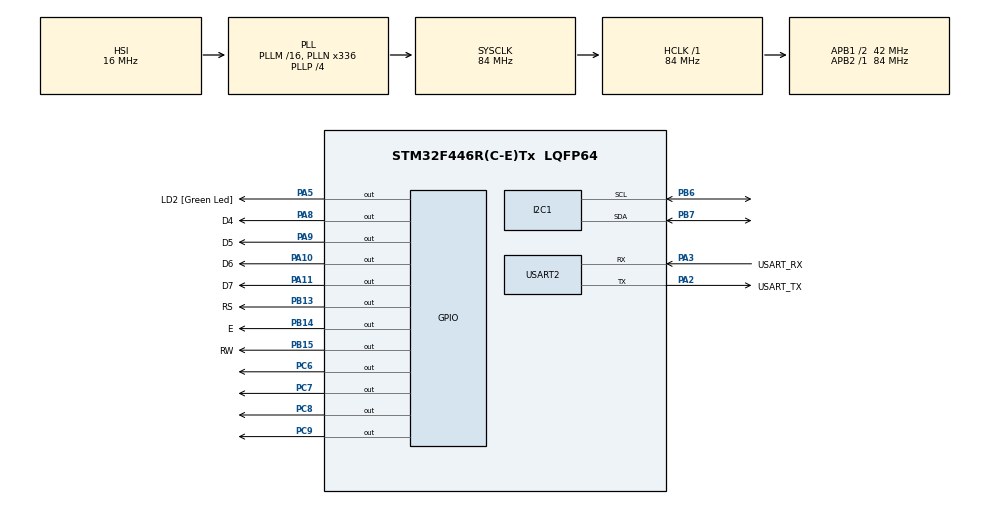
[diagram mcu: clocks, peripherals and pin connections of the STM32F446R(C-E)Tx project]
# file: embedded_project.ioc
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Mcu.Family=STM32F4
PA11.GPIO_Speed=GPIO_SPEED_FREQ_MEDIUM
PH0-OSC_IN.Signal=RCC_OSC_IN
RCC.CortexFreq_Value=84000000
PB14.GPIO_Label=E
PB13.GPIO_Label=RS
PB13.Signal=GPIO_Output
PB15.Signal=GPIO_Output
RCC.SYSCLKSource=RCC_SYSCLKSOURCE_PLLCLK
ProjectManager.StackSize=0x400
RCC.HCLKFreq_Value=84000000
RCC.APB2TimFreq_Value=84000000
PB6.Signal=I2C1_SCL
PC7.Signal=GPIO_Output
PB6.Mode=I2C
RCC.AHBFreq_Value=84000000
PH0-OSC_IN.Mode=HSE-External-Oscillator
RCC.HSE_VALUE=8000000
PC14-OSC32_IN.Mode=LSE-External-Oscillator
PA14.Mode=Serial_Wire
PA10.GPIO_Label=D6
PB7.Signal=I2C1_SDA
PA8.Signal=GPIO_Output
RCC.FLatency-AdvancedSettings=FLASH_LATENCY_2
PH1-OSC_OUT.Mode=HSE-External-Oscillator
Mcu.Package=LQFP64
USART2.VirtualMode=VM_ASYNC
PA2.GPIO_Label=USART_TX
PA10.Signal=GPIO_Output
PA10.GPIO_Speed=GPIO_SPEED_FREQ_MEDIUM
RCC.APB1TimFreq_Value=84000000
PA8.GPIO_Speed=GPIO_SPEED_FREQ_MEDIUM
PA3.Signal=USART2_RX
PC15-OSC32_OUT.Mode=LSE-External-Oscillator
PA9.GPIO_Label=D5
PC8.Signal=GPIO_Output
PC6.Signal=GPIO_Output
PA11.GPIO_Label=D7
RCC.APB1CLKDivider=RCC_HCLK_DIV2
PC14-OSC32_IN.Signal=RCC_OSC32_IN
NVIC.USART2_IRQn=true\:0\:0\:false\:false\:true\:true\:true
PA13.Signal=SYS_JTMS-SWDIO
PA3.Mode=Asynchronous
PA8.GPIO_Label=D4
ProjectManager.TargetToolchain=STM32CubeIDE
PB14.GPIO_Speed=GPIO_SPEED_FREQ_MEDIUM
PA9.Signal=GPIO_Output
PB13.GPIO_Speed=GPIO_SPEED_FREQ_MEDIUM
RCC.USBFreq_Value=168000000
PC15-OSC32_OUT.Signal=RCC_OSC32_OUT
PB14.Signal=GPIO_Output
PA5.Signal=GPIO_Output
board=NUCLEO-F446RE
RCC.VCOOutputFreq_Value=336000000
RCC.APB2Freq_Value=84000000
PB15.GPIO_Label=RW
PB15.GPIO_Speed=GPIO_SPEED_FREQ_MEDIUM
PH1-OSC_OUT.Signal=RCC_OSC_OUT
PA13.Mode=Serial_Wire
Mcu.Name=STM32F446R(C-E)Tx
PA2.Signal=USART2_TX
RCC.48MHZClocksFreq_Value=84000000
PB3.Signal=SYS_JTDO-SWO
RCC.SYSCLKFreq_VALUE=84000000
PA5.GPIO_Label=LD2 [Green Led]
PB7.Mode=I2C
PA11.Signal=GPIO_Output
PA14.Signal=SYS_JTCK-SWCLK
ProjectManager.HeapSize=0x200
RCC.HSI_VALUE=16000000
RCC.PLLP=RCC_PLLP_DIV4
NVIC.PriorityGroup=NVIC_PRIORITYGROUP_0
RCC.PLLN=336
PA2.Mode=Asynchronous
PA9.GPIO_Speed=GPIO_SPEED_FREQ_MEDIUM
PC9.Signal=GPIO_Output
RCC.APB1Freq_Value=42000000
PA3.GPIO_Label=USART_RX

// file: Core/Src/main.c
/* USER CODE BEGIN Header */
/**
  ******************************************************************************
  * @file           : main.c
  * @brief          : Main program body
  ******************************************************************************
  * @attention
  *
  * <h2><center>&copy; Copyright (c) 2021 STMicroelectronics.
  * All rights reserved.</center></h2>
  *
  * This software component is licensed by ST under BSD 3-Clause license,
  * the "License"; You may not use this file except in compliance with the
  * License. You may obtain a copy of the License at:
  *                        opensource.org/licenses/BSD-3-Clause
  *
  ******************************************************************************
  */
/* USER CODE END Header */
#include "main.h"

/* USER CODE BEGIN Includes */
#include "bme280.h"
#include "bme280_control.h"
#include "bme280_defs.h"
#include "lcd16x2.h"
#include <stdio.h>
/* USER CODE END Includes */

/* USER CODE BEGIN PTD */

static struct bme280_dev dev;
static struct bme280_data comp_data;

/* USER CODE END PTD */

I2C_HandleTypeDef hi2c1;

UART_HandleTypeDef huart2;

void SystemClock_Config(void);
static void MX_GPIO_Init(void);
static void MX_USART2_UART_Init(void);
static void MX_I2C1_Init(void);

/* USER CODE BEGIN 0 */

int __io_putchar(int ch) {
	HAL_UART_Transmit(&huart2, (uint8_t*)&ch, 1, 1000);
	return ch;
}

int8_t bme280_init_indoor(void) {

	int8_t rslt = BME280_OK;
	uint8_t settings_sel;
	uint8_t dev_addr = (BME280_I2C_ADDR_PRIM << 1);

	dev.intf_ptr = &dev_addr;
	dev.intf = BME280_I2C_INTF;
	dev.read = user_i2c_read;
	dev.write = user_i2c_write;
	dev.delay_us = user_delay_ms;

	rslt = bme280_init(&dev);

	/* Recommended mode of operation: Indoor navigation */
	dev.settings.osr_h = BME280_OVERSAMPLING_1X;
	dev.settings.osr_p = BME280_OVERSAMPLING_16X;
	dev.settings.osr_t = BME280_OVERSAMPLING_2X;
	dev.settings.filter = BME280_FILTER_COEFF_16;
	dev.settings.standby_time = BME280_STANDBY_TIME_62_5_MS;

	settings_sel = BME280_OSR_PRESS_SEL;
	settings_sel |= BME280_OSR_TEMP_SEL;
	settings_sel |= BME280_OSR_HUM_SEL;
	settings_sel |= BME280_STANDBY_SEL;
	settings_sel |= BME280_FILTER_SEL;
	rslt = bme280_set_sensor_settings(settings_sel, &dev);
	rslt = bme280_set_sensor_mode(BME280_NORMAL_MODE, &dev);

	return rslt;
}

int8_t bme280_read(void) {
	int8_t rslt;

	printf("Temperature, Pressure, Humidity\r\n");
	/* Delay while the sensor completes a measurement */
	dev.delay_us(70, dev.intf_ptr);
	rslt = bme280_get_sensor_data(BME280_ALL, &comp_data, &dev);
	print_sensor_data(&comp_data);

	return rslt;
}

void print_sensor_data(struct bme280_data *comp_data)
{
#ifdef BME280_FLOAT_ENABLE
        printf("%0.2f, %0.2f, %0.2f\r\n",comp_data->temperature, comp_data->pressure, comp_data->humidity);

#else
        printf("%ld, %ld, %ld\r\n",comp_data->temperature, comp_data->pressure, comp_data->humidity);
#endif
}

int8_t user_i2c_read(uint8_t reg_addr, uint8_t *reg_data, uint32_t len, void *intf_ptr)
{
    int8_t rslt = 0; /* Return 0 for Success, non-zero for failure */
    rslt = HAL_I2C_Mem_Read(&hi2c1, BME280_I2C_ADDR_PRIM << 1, reg_addr, 1, reg_data, len, HAL_MAX_DELAY);
    if(rslt != HAL_OK) {
    	printf("Read error code: %d\n", rslt);
    }

    return rslt;
}

int8_t user_i2c_write(uint8_t reg_addr, uint8_t *reg_data, uint32_t len, void *intf_ptr)
{
    int8_t rslt = 0; /* Return 0 for Success, non-zero for failure */
    rslt = HAL_I2C_Mem_Write(&hi2c1, BME280_I2C_ADDR_PRIM << 1, reg_addr, 1, reg_data, len, HAL_MAX_DELAY);

    if(rslt != HAL_OK) {
        	printf("Write error code: %d\n", rslt);
        }
    return rslt;
}

void user_delay_ms(uint32_t period, void *intf_ptr)
{
	HAL_Delay(period);
}

/* USER CODE END 0 */

int main(void)
{
  /* USER CODE BEGIN 1 */
  int err;
  /* USER CODE END 1 */

  /* MCU Configuration--------------------------------------------------------*/

  /* Reset of all peripherals, Initializes the Flash interface and the Systick. */
  HAL_Init();

  /* Configure the system clock */
  SystemClock_Config();

  /* Initialize all configured peripherals */
  MX_GPIO_Init();
  MX_USART2_UART_Init();
  MX_I2C1_Init();
  /* USER CODE BEGIN 2 */
  printf("BME Configuration Start!\n\r");

  if((err = bme280_init_indoor()) != BME280_OK) {
	  printf("BME Configuration failed, code: %d\n\r", err);
	  return 1;
  }

  printf("BME Configuration Complete!\n\r");

  lcd16x2_init_4bits(RS_GPIO_Port,RS_Pin,E_Pin,D4_GPIO_Port,D4_Pin,D5_Pin,D6_Pin,D7_Pin);
  /* USER CODE END 2 */

  /* Infinite loop */
  /* USER CODE BEGIN WHILE */

  while (1)
  {
	  	  if((err = bme280_read()) != BME280_OK) {
	  		  printf("Read error, code: %d\n\r", err);
	  		  return 1;
	  	  }

	  	 lcd16x2_1stLine();
	  	 lcd16x2_printf("Temperature:");
	  	 lcd16x2_2ndLine();
	  	 lcd16x2_printf("%0.2f%cC", comp_data.temperature, 223);

	  	 HAL_Delay(3000);
	  	 lcd16x2_clear();

	  	 lcd16x2_1stLine();
	  	 lcd16x2_printf("Pressure:");
	  	 lcd16x2_2ndLine();
	  	 lcd16x2_printf("%0.2fhPa", comp_data.pressure/100);

	  	 HAL_Delay(3000);
		 lcd16x2_clear();

	  	 lcd16x2_1stLine();
	  	 lcd16x2_printf("Humidity:");
	  	 lcd16x2_2ndLine();
	  	 lcd16x2_printf("%0.2f%%", comp_data.humidity);

	  	 HAL_Delay(3000);
		 lcd16x2_clear();

    /* USER CODE END WHILE */

  }
}

void SystemClock_Config(void)
{
  RCC_OscInitTypeDef RCC_OscInitStruct = {0};
  RCC_ClkInitTypeDef RCC_ClkInitStruct = {0};

  /** Configure the main internal regulator output voltage
  */
  __HAL_RCC_PWR_CLK_ENABLE();
  __HAL_PWR_VOLTAGESCALING_CONFIG(PWR_REGULATOR_VOLTAGE_SCALE3);
  /** Initializes the RCC Oscillators according to the specified parameters
  * in the RCC_OscInitTypeDef structure.
  */
  RCC_OscInitStruct.OscillatorType = RCC_OSCILLATORTYPE_HSI;
  RCC_OscInitStruct.HSIState = RCC_HSI_ON;
  RCC_OscInitStruct.HSICalibrationValue = RCC_HSICALIBRATION_DEFAULT;
  RCC_OscInitStruct.PLL.PLLState = RCC_PLL_ON;
  RCC_OscInitStruct.PLL.PLLSource = RCC_PLLSOURCE_HSI;
  RCC_OscInitStruct.PLL.PLLM = 16;
  RCC_OscInitStruct.PLL.PLLN = 336;
  RCC_OscInitStruct.PLL.PLLP = RCC_PLLP_DIV4;
  RCC_OscInitStruct.PLL.PLLQ = 2;
  RCC_OscInitStruct.PLL.PLLR = 2;
  if (HAL_RCC_OscConfig(&RCC_OscInitStruct) != HAL_OK)
  {
    Error_Handler();
  }
  /** Initializes the CPU, AHB and APB buses clocks
  */
  RCC_ClkInitStruct.ClockType = RCC_CLOCKTYPE_HCLK|RCC_CLOCKTYPE_SYSCLK
                              |RCC_CLOCKTYPE_PCLK1|RCC_CLOCKTYPE_PCLK2;
  RCC_ClkInitStruct.SYSCLKSource = RCC_SYSCLKSOURCE_PLLCLK;
  RCC_ClkInitStruct.AHBCLKDivider = RCC_SYSCLK_DIV1;
  RCC_ClkInitStruct.APB1CLKDivider = RCC_HCLK_DIV2;
  RCC_ClkInitStruct.APB2CLKDivider = RCC_HCLK_DIV1;

  if (HAL_RCC_ClockConfig(&RCC_ClkInitStruct, FLASH_LATENCY_2) != HAL_OK)
  {
    Error_Handler();
  }
}

static void MX_I2C1_Init(void)
{

  hi2c1.Instance = I2C1;
  hi2c1.Init.ClockSpeed = 100000;
  hi2c1.Init.DutyCycle = I2C_DUTYCYCLE_2;
  hi2c1.Init.OwnAddress1 = 0;
  hi2c1.Init.AddressingMode = I2C_ADDRESSINGMODE_7BIT;
  hi2c1.Init.DualAddressMode = I2C_DUALADDRESS_DISABLE;
  hi2c1.Init.OwnAddress2 = 0;
  hi2c1.Init.GeneralCallMode = I2C_GENERALCALL_DISABLE;
  hi2c1.Init.NoStretchMode = I2C_NOSTRETCH_DISABLE;
  if (HAL_I2C_Init(&hi2c1) != HAL_OK)
  {
    Error_Handler();
  }

}

static void MX_USART2_UART_Init(void)
{

  huart2.Instance = USART2;
  huart2.Init.BaudRate = 115200;
  huart2.Init.WordLength = UART_WORDLENGTH_8B;
  huart2.Init.StopBits = UART_STOPBITS_1;
  huart2.Init.Parity = UART_PARITY_NONE;
  huart2.Init.Mode = UART_MODE_TX_RX;
  huart2.Init.HwFlowCtl = UART_HWCONTROL_NONE;
  huart2.Init.OverSampling = UART_OVERSAMPLING_16;
  if (HAL_UART_Init(&huart2) != HAL_OK)
  {
    Error_Handler();
  }

}

static void MX_GPIO_Init(void)
{
  GPIO_InitTypeDef GPIO_InitStruct = {0};

  /* GPIO Ports Clock Enable */
  __HAL_RCC_GPIOC_CLK_ENABLE();
  __HAL_RCC_GPIOH_CLK_ENABLE();
  __HAL_RCC_GPIOA_CLK_ENABLE();
  __HAL_RCC_GPIOB_CLK_ENABLE();

  /*Configure GPIO pin Output Level */
  HAL_GPIO_WritePin(GPIOA, LD2_Pin|D4_Pin|D5_Pin|D6_Pin
                          |D7_Pin, GPIO_PIN_RESET);

  /*Configure GPIO pin Output Level */
  HAL_GPIO_WritePin(GPIOB, RS_Pin|E_Pin|RW_Pin, GPIO_PIN_RESET);

  /*Configure GPIO pin Output Level */
  HAL_GPIO_WritePin(GPIOC, GPIO_PIN_6|GPIO_PIN_7|GPIO_PIN_8|GPIO_PIN_9, GPIO_PIN_RESET);

  /*Configure GPIO pin : LD2_Pin */
  GPIO_InitStruct.Pin = LD2_Pin;
  GPIO_InitStruct.Mode = GPIO_MODE_OUTPUT_PP;
  GPIO_InitStruct.Pull = GPIO_NOPULL;
  GPIO_InitStruct.Speed = GPIO_SPEED_FREQ_LOW;
  HAL_GPIO_Init(LD2_GPIO_Port, &GPIO_InitStruct);

  /*Configure GPIO pins : RS_Pin E_Pin RW_Pin */
  GPIO_InitStruct.Pin = RS_Pin|E_Pin|RW_Pin;
  GPIO_InitStruct.Mode = GPIO_MODE_OUTPUT_PP;
  GPIO_InitStruct.Pull = GPIO_NOPULL;
  GPIO_InitStruct.Speed = GPIO_SPEED_FREQ_MEDIUM;
  HAL_GPIO_Init(GPIOB, &GPIO_InitStruct);

  /*Configure GPIO pins : PC6 PC7 PC8 PC9 */
  GPIO_InitStruct.Pin = GPIO_PIN_6|GPIO_PIN_7|GPIO_PIN_8|GPIO_PIN_9;
  GPIO_InitStruct.Mode = GPIO_MODE_OUTPUT_PP;
  GPIO_InitStruct.Pull = GPIO_NOPULL;
  GPIO_InitStruct.Speed = GPIO_SPEED_FREQ_LOW;
  HAL_GPIO_Init(GPIOC, &GPIO_InitStruct);

  /*Configure GPIO pins : D4_Pin D5_Pin D6_Pin D7_Pin */
  GPIO_InitStruct.Pin = D4_Pin|D5_Pin|D6_Pin|D7_Pin;
  GPIO_InitStruct.Mode = GPIO_MODE_OUTPUT_PP;
  GPIO_InitStruct.Pull = GPIO_NOPULL;
  GPIO_InitStruct.Speed = GPIO_SPEED_FREQ_MEDIUM;
  HAL_GPIO_Init(GPIOA, &GPIO_InitStruct);

}

void Error_Handler(void)
{
  __disable_irq();
  while (1)
  {
  }
}

/************************ (C) COPYRIGHT STMicroelectronics *****END OF FILE****/
